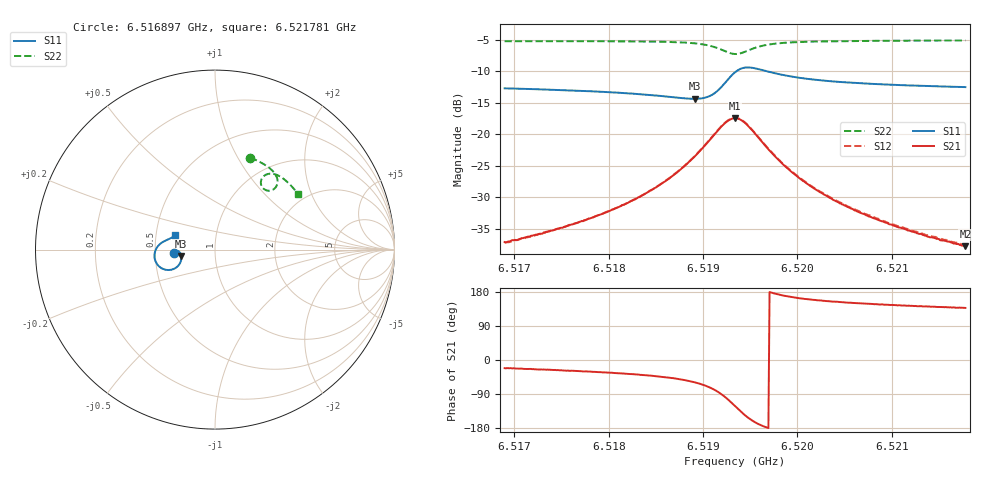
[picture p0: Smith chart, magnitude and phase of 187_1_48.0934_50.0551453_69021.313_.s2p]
#  HZ  S  RI  R  50.00
! Rohde & Schwarz Vector Network Analyzer
! Rohde-Schwarz,ZNB20-2Port,1311601062101988,3.16
! Created: UTC 12/23/2023, 3:53:22 AM
! freq[Hz]  re:S11  im:S11  re:S21  im:S21  re:S12  im:S12  re:S22  im:S22
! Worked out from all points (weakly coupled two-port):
!   401 points, 6.516897 GHz to 6.521781 GHz, reference 50 ohm
!   highest |S21| = -17.46 dB at 6.519339 GHz (marker M1); lowest = -37.8 dB at 6.521781 GHz (marker M2)
!   lowest |S11| = -14.4 dB at 6.518911 GHz (marker M3), VSWR 1.47, Z = 34.1 - j2.47 ohm
!   |S11| at or under -10 dB: start of sweep to 6.519352 GHz; 6.51968 GHz to end of sweep
!   |S22| runs from -7.3 to -5.1 dB; largest |S21 - S12| = 0.0042
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6.5168965e9  -0.231 -0.019  0.013 -0.00511  0.013 -0.00455  0.1959 0.5117
6.5172751e9  -0.2271 -0.0133  0.0147 -0.00692  0.0148 -0.0063  0.224 0.5008
6.5177147e9  -0.2211 -0.008  0.0178 -0.0102  0.0181 -0.0095  0.2565 0.485
6.518191e9  -0.2118 -0.00539  0.0228 -0.0168  0.0234 -0.0161  0.2921 0.4629
6.5185329e9  -0.202 -0.00953  0.0284 -0.0271  0.0295 -0.0262  0.3185 0.4408
6.5187405e9  -0.1941 -0.0184  0.0327 -0.0392  0.0341 -0.0383  0.3346 0.4219
6.5189115e9  -0.1881 -0.0348  0.0344 -0.0571  0.0364 -0.0562  0.3458 0.3989
6.5190214e9  -0.1878 -0.0537  0.0315 -0.0756  0.034 -0.075  0.3486 0.3779
6.5191069e9  -0.1944 -0.0746  0.0222 -0.0945  0.0252 -0.0945  0.3443 0.3578
6.5192412e9  -0.2356 -0.1098  -0.02 -0.1227  -0.0163 -0.1242  0.3129 0.3296
6.51929e9  -0.2628 -0.1137  -0.045 -0.1234  -0.0416 -0.1257  0.2935 0.3286
6.5193389e9  -0.2918 -0.1068  -0.0701 -0.1142  -0.0674 -0.117  0.2744 0.3362
6.5193877e9  -0.3164 -0.0887  -0.0903 -0.0959  -0.0881 -0.0992  0.2607 0.3516
6.5194488e9  -0.3338 -0.0581  -0.1023 -0.0674  -0.1011 -0.0708  0.2554 0.3751
6.5195465e9  -0.3346 -0.0133  -0.0981 -0.0288  -0.0981 -0.0321  0.2672 0.4045
6.5196564e9  -0.3192 0.0176  -0.0814 -0.00502  -0.0821 -0.00756  0.2897 0.4196
6.5198762e9  -0.2898 0.0431  -0.0541 0.0106  -0.055 0.0092  0.3275 0.4215
6.5201571e9  -0.2673 0.054  -0.0355 0.0137  -0.0363 0.0126  0.3597 0.4091
6.5205356e9  -0.2505 0.0612  -0.0232 0.0127  -0.0238 0.0121  0.3905 0.3877
6.5209753e9  -0.2385 0.0677  -0.0158 0.011  -0.0166 0.0107  0.4184 0.3618
6.5213782e9  -0.2302 0.0732  -0.012 0.00965  -0.0126 0.00954  0.4404 0.3376
6.5217812e9  -0.2235 0.0789  -0.00952 0.00875  -0.01 0.00864  0.4601 0.3126
